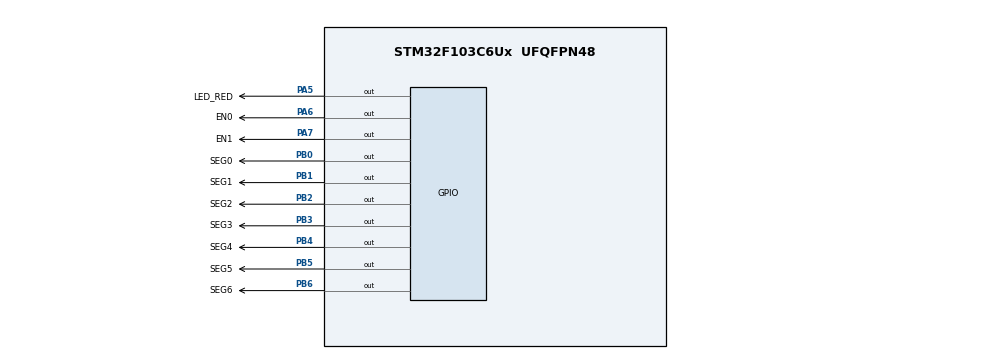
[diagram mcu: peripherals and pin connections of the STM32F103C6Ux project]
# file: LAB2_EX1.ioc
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Mcu.Family=STM32F1
Mcu.Name=STM32F103C6Ux
Mcu.Package=UFQFPN48
NVIC.PriorityGroup=NVIC_PRIORITYGROUP_4
NVIC.TIM2_IRQn=true\:0\:0\:false\:false\:true\:true\:true
PA5.GPIO_Label=LED_RED
PA5.Signal=GPIO_Output
PA6.GPIO_Label=EN0
PA6.Signal=GPIO_Output
PA7.GPIO_Label=EN1
PA7.Signal=GPIO_Output
PB0.GPIO_Label=SEG0
PB0.Signal=GPIO_Output
PB1.GPIO_Label=SEG1
PB1.Signal=GPIO_Output
PB2.GPIO_Label=SEG2
PB2.Signal=GPIO_Output
PB3.GPIO_Label=SEG3
PB3.Signal=GPIO_Output
PB4.GPIO_Label=SEG4
PB4.Signal=GPIO_Output
PB5.GPIO_Label=SEG5
PB5.Signal=GPIO_Output
PB6.GPIO_Label=SEG6
PB6.Signal=GPIO_Output
ProjectManager.HeapSize=0x200
ProjectManager.StackSize=0x400
ProjectManager.TargetToolchain=STM32CubeIDE
RCC.APB1Freq_Value=8000000
RCC.APB2Freq_Value=8000000
TIM2.Period=9
TIM2.Prescaler=7999
VP_SYS_VS_ND.Mode=No_Debug
VP_TIM2_VS_ClockSourceINT.Mode=Internal
board=custom

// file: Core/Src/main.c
/* USER CODE BEGIN Header */
/**
  ******************************************************************************
  * @file           : main.c
  * @brief          : Main program body
  ******************************************************************************
  * @attention
  *
  * <h2><center>&copy; Copyright (c) 2025 STMicroelectronics.
  * All rights reserved.</center></h2>
  *
  * This software component is licensed by ST under BSD 3-Clause license,
  * the "License"; You may not use this file except in compliance with the
  * License. You may obtain a copy of the License at:
  *                        opensource.org/licenses/BSD-3-Clause
  *
  ******************************************************************************
  */
/* USER CODE END Header */
#include "main.h"

/* USER CODE BEGIN Includes */
#include "software_timer.h"
#include "display_led.h"
/* USER CODE END Includes */

TIM_HandleTypeDef htim2;

void SystemClock_Config(void);
static void MX_GPIO_Init(void);
static void MX_TIM2_Init(void);

int main(void)
{

  /* MCU Configuration--------------------------------------------------------*/

  /* Reset of all peripherals, Initializes the Flash interface and the Systick. */
  HAL_Init();

  /* Configure the system clock */
  SystemClock_Config();

  /* Initialize all configured peripherals */
  MX_GPIO_Init();
  MX_TIM2_Init();
  /* USER CODE BEGIN 2 */
  HAL_TIM_Base_Start_IT(&htim2);
  /* USER CODE END 2 */

  /* Infinite loop */
  /* USER CODE BEGIN WHILE */
  setTimer1(500);
  setTimer2(1000);
  int led_index = 0;
  int led_buffer[2] = {1,2};
  while (1)
  { if (timer1_flag == 1 ){
	  setTimer1(50);
	  //TODO
	  update7SEG(led_index);
	  display7SEG(led_buffer[led_index]);
	  led_index = 1 - led_index;

  }
  if (timer2_flag == 1 ){
  	  setTimer2(100);
  	  //TODO
    HAL_GPIO_TogglePin(LED_RED_GPIO_Port, LED_RED_Pin);

    }
    /* USER CODE END WHILE */

  }
}

void SystemClock_Config(void)
{
  RCC_OscInitTypeDef RCC_OscInitStruct = {0};
  RCC_ClkInitTypeDef RCC_ClkInitStruct = {0};

  /** Initializes the RCC Oscillators according to the specified parameters
  * in the RCC_OscInitTypeDef structure.
  */
  RCC_OscInitStruct.OscillatorType = RCC_OSCILLATORTYPE_HSI;
  RCC_OscInitStruct.HSIState = RCC_HSI_ON;
  RCC_OscInitStruct.HSICalibrationValue = RCC_HSICALIBRATION_DEFAULT;
  RCC_OscInitStruct.PLL.PLLState = RCC_PLL_NONE;
  if (HAL_RCC_OscConfig(&RCC_OscInitStruct) != HAL_OK)
  {
    Error_Handler();
  }
  /** Initializes the CPU, AHB and APB buses clocks
  */
  RCC_ClkInitStruct.ClockType = RCC_CLOCKTYPE_HCLK|RCC_CLOCKTYPE_SYSCLK
                              |RCC_CLOCKTYPE_PCLK1|RCC_CLOCKTYPE_PCLK2;
  RCC_ClkInitStruct.SYSCLKSource = RCC_SYSCLKSOURCE_HSI;
  RCC_ClkInitStruct.AHBCLKDivider = RCC_SYSCLK_DIV1;
  RCC_ClkInitStruct.APB1CLKDivider = RCC_HCLK_DIV1;
  RCC_ClkInitStruct.APB2CLKDivider = RCC_HCLK_DIV1;

  if (HAL_RCC_ClockConfig(&RCC_ClkInitStruct, FLASH_LATENCY_0) != HAL_OK)
  {
    Error_Handler();
  }
}

static void MX_TIM2_Init(void)
{

  TIM_ClockConfigTypeDef sClockSourceConfig = {0};
  TIM_MasterConfigTypeDef sMasterConfig = {0};

  htim2.Instance = TIM2;
  htim2.Init.Prescaler = 7999;
  htim2.Init.CounterMode = TIM_COUNTERMODE_UP;
  htim2.Init.Period = 9;
  htim2.Init.ClockDivision = TIM_CLOCKDIVISION_DIV1;
  htim2.Init.AutoReloadPreload = TIM_AUTORELOAD_PRELOAD_DISABLE;
  if (HAL_TIM_Base_Init(&htim2) != HAL_OK)
  {
    Error_Handler();
  }
  sClockSourceConfig.ClockSource = TIM_CLOCKSOURCE_INTERNAL;
  if (HAL_TIM_ConfigClockSource(&htim2, &sClockSourceConfig) != HAL_OK)
  {
    Error_Handler();
  }
  sMasterConfig.MasterOutputTrigger = TIM_TRGO_RESET;
  sMasterConfig.MasterSlaveMode = TIM_MASTERSLAVEMODE_DISABLE;
  if (HAL_TIMEx_MasterConfigSynchronization(&htim2, &sMasterConfig) != HAL_OK)
  {
    Error_Handler();
  }

}

static void MX_GPIO_Init(void)
{
  GPIO_InitTypeDef GPIO_InitStruct = {0};

  /* GPIO Ports Clock Enable */
  __HAL_RCC_GPIOA_CLK_ENABLE();
  __HAL_RCC_GPIOB_CLK_ENABLE();

  /*Configure GPIO pin Output Level */
  HAL_GPIO_WritePin(GPIOA, LED_RED_Pin|EN0_Pin|EN1_Pin, GPIO_PIN_RESET);

  /*Configure GPIO pin Output Level */
  HAL_GPIO_WritePin(GPIOB, SEG0_Pin|SEG1_Pin|SEG2_Pin|SEG3_Pin
                          |SEG4_Pin|SEG5_Pin|SEG6_Pin, GPIO_PIN_RESET);

  /*Configure GPIO pins : LED_RED_Pin EN0_Pin EN1_Pin */
  GPIO_InitStruct.Pin = LED_RED_Pin|EN0_Pin|EN1_Pin;
  GPIO_InitStruct.Mode = GPIO_MODE_OUTPUT_PP;
  GPIO_InitStruct.Pull = GPIO_NOPULL;
  GPIO_InitStruct.Speed = GPIO_SPEED_FREQ_LOW;
  HAL_GPIO_Init(GPIOA, &GPIO_InitStruct);

  /*Configure GPIO pins : SEG0_Pin SEG1_Pin SEG2_Pin SEG3_Pin
                           SEG4_Pin SEG5_Pin SEG6_Pin */
  GPIO_InitStruct.Pin = SEG0_Pin|SEG1_Pin|SEG2_Pin|SEG3_Pin
                          |SEG4_Pin|SEG5_Pin|SEG6_Pin;
  GPIO_InitStruct.Mode = GPIO_MODE_OUTPUT_PP;
  GPIO_InitStruct.Pull = GPIO_NOPULL;
  GPIO_InitStruct.Speed = GPIO_SPEED_FREQ_LOW;
  HAL_GPIO_Init(GPIOB, &GPIO_InitStruct);

}

/* USER CODE BEGIN 4 */

void HAL_TIM_PeriodElapsedCallback(TIM_HandleTypeDef *htim){
   timerRun();
}
/* USER CODE END 4 */

void Error_Handler(void)
{
  __disable_irq();
  while (1)
  {
  }
}

/************************ (C) COPYRIGHT STMicroelectronics *****END OF FILE****/
